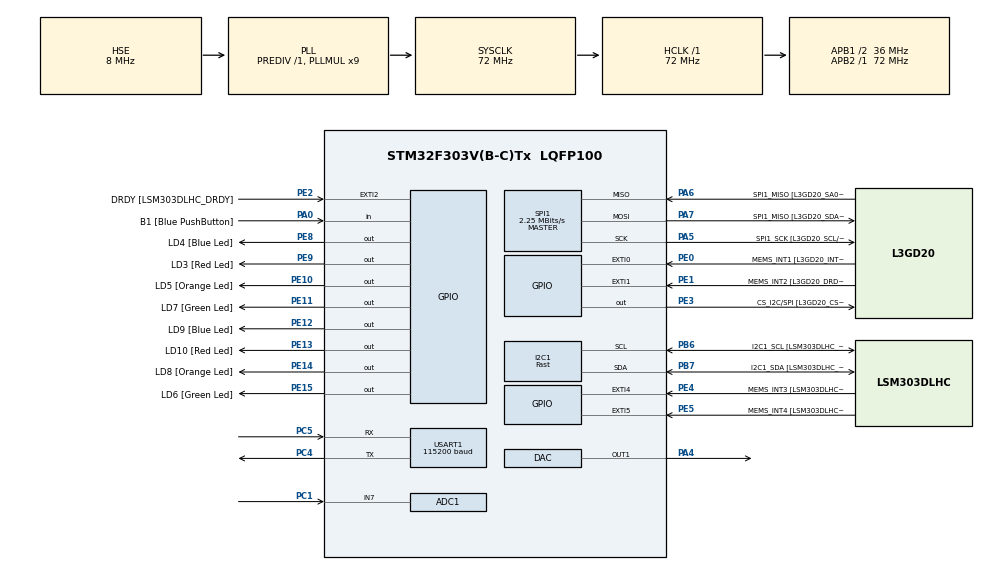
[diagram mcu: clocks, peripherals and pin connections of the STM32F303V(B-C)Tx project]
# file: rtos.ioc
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ADC1.Channel-4\#ChannelRegularConversion=ADC_CHANNEL_7
ADC1.ClockPrescaler=ADC_CLOCK_SYNC_PCLK_DIV1
ADC1.ContinuousConvMode=DISABLE
ADC1.DMAContinuousRequests=ENABLE
ADC1.DataAlign=ADC_DATAALIGN_RIGHT
ADC1.DiscontinuousConvMode=DISABLE
ADC1.EOCSelection=ADC_EOC_SINGLE_CONV
ADC1.EnableAnalogWatchDog1=false
ADC1.EnableAnalogWatchDog2=false
ADC1.EnableAnalogWatchDog3=false
ADC1.EnableInjectedConversion=ENABLE
ADC1.EnableRegularConversion=ENABLE
ADC1.ExternalTrigConv=ADC_EXTERNALTRIGCONV_T6_TRGO
ADC1.ExternalTrigConvEdge=ADC_EXTERNALTRIGCONVEDGE_RISING
ADC1.InjNumberOfConversion=0
ADC1.LowPowerAutoWait=DISABLE
ADC1.NbrOfConversion=1
ADC1.NbrOfConversionFlag=1
ADC1.Offset-4\#ChannelRegularConversion=0
ADC1.OffsetNumber-4\#ChannelRegularConversion=ADC_OFFSET_NONE
ADC1.Overrun=ADC_OVR_DATA_OVERWRITTEN
ADC1.Rank-4\#ChannelRegularConversion=1
ADC1.Resolution=ADC_RESOLUTION_8B
ADC1.SamplingTime-4\#ChannelRegularConversion=ADC_SAMPLETIME_7CYCLES_5
ADC1.ScanConvMode=ADC_SCAN_DISABLE
ADC1.master=1
DAC.DAC_Trigger=DAC_TRIGGER_T6_TRGO
DAC.WaveGeneration=DISABLE
Dma.ADC1.1.Direction=DMA_PERIPH_TO_MEMORY
Dma.ADC1.1.Instance=DMA1_Channel1
Dma.ADC1.1.MemDataAlignment=DMA_MDATAALIGN_HALFWORD
Dma.ADC1.1.MemInc=DMA_MINC_ENABLE
Dma.ADC1.1.Mode=DMA_CIRCULAR
Dma.ADC1.1.PeriphDataAlignment=DMA_PDATAALIGN_HALFWORD
Dma.ADC1.1.PeriphInc=DMA_PINC_DISABLE
Dma.ADC1.1.Priority=DMA_PRIORITY_LOW
Dma.DAC_CH1.0.Direction=DMA_MEMORY_TO_PERIPH
Dma.DAC_CH1.0.Instance=DMA2_Channel3
Dma.DAC_CH1.0.MemDataAlignment=DMA_MDATAALIGN_HALFWORD
Dma.DAC_CH1.0.MemInc=DMA_MINC_ENABLE
Dma.DAC_CH1.0.Mode=DMA_CIRCULAR
Dma.DAC_CH1.0.PeriphDataAlignment=DMA_PDATAALIGN_HALFWORD
Dma.DAC_CH1.0.PeriphInc=DMA_PINC_DISABLE
Dma.DAC_CH1.0.Priority=DMA_PRIORITY_LOW
Dma.Request0=DAC_CH1
Dma.Request1=ADC1
FREERTOS.Tasks01=defaultTask,0,128,StartDefaultTask,Default,NULL
FREERTOS.configUSE_TIMERS=1
I2C1.I2C_Speed_Mode=I2C_Fast
I2C1.Timing=0x0000020B
Mcu.Family=STM32F3
Mcu.Name=STM32F303V(B-C)Tx
Mcu.Package=LQFP100
NVIC.DMA1_Channel1_IRQn=true\:5\:0\:false\:false\:true\:true
NVIC.DMA2_Channel3_IRQn=true\:5\:0\:false\:false\:true\:true
NVIC.I2C1_ER_IRQn=true\:5\:0\:true\:false\:true\:true
NVIC.I2C1_EV_IRQn=true\:5\:0\:false\:false\:true\:true
NVIC.PriorityGroup=NVIC_PRIORITYGROUP_4
NVIC.TIM7_IRQn=true\:0\:0\:false\:false\:true\:false
NVIC.TimeBase=TIM7_IRQn
NVIC.TimeBaseIP=TIM7
NVIC.USART1_IRQn=true\:5\:0\:false\:false\:true\:true
PA0.GPIO_Label=B1 [Blue PushButton]
PA0.GPIO_Mode=GPIO_MODE_INPUT
PA0.GPIO_PuPd=GPIO_NOPULL
PA0.Signal=GPIO_Input
PA13.GPIO_Label=SWDIO
PA13.Mode=Trace_Asynchronous_SW
PA13.Signal=SYS_JTMS-SWDIO
PA14.GPIO_Label=SWCLK
PA14.Mode=Trace_Asynchronous_SW
PA14.Signal=SYS_JTCK-SWCLK
PA4.Signal=COMP_DAC1_group
PA5.GPIO_Label=SPI1_SCK [L3GD20_SCL/SPC]
PA5.GPIO_Mode=GPIO_MODE_AF_PP
PA5.GPIO_PuPd=GPIO_NOPULL
PA5.GPIO_Speed=GPIO_SPEED_FREQ_LOW
PA5.Mode=Full_Duplex_Master
PA5.Signal=SPI1_SCK
PA6.GPIO_Label=SPI1_MISO [L3GD20_SA0/SDO]
PA6.GPIO_Mode=GPIO_MODE_AF_PP
PA6.GPIO_PuPd=GPIO_NOPULL
PA6.GPIO_Speed=GPIO_SPEED_FREQ_LOW
PA6.Mode=Full_Duplex_Master
PA6.Signal=SPI1_MISO
PA7.GPIO_Label=SPI1_MISO [L3GD20_SDA/SDI/SDO]
PA7.GPIO_Mode=GPIO_MODE_AF_PP
PA7.GPIO_PuPd=GPIO_NOPULL
PA7.GPIO_Speed=GPIO_SPEED_FREQ_LOW
PA7.Mode=Full_Duplex_Master
PA7.Signal=SPI1_MOSI
PB3.GPIO_Label=SWO
PB3.Mode=Trace_Asynchronous_SW
PB3.Signal=SYS_JTDO-TRACESWO
PB6.GPIO_FM6=__NULL
PB6.GPIO_Label=I2C1_SCL [LSM303DLHC_SCL]
PB6.GPIO_Mode=GPIO_MODE_AF_OD
PB6.GPIO_PuPd=GPIO_NOPULL
PB6.GPIO_Speed=GPIO_SPEED_FREQ_LOW
PB6.Mode=I2C
PB6.Signal=I2C1_SCL
PB7.GPIO_FM7=__NULL
PB7.GPIO_Label=I2C1_SDA [LSM303DLHC_SDA]
PB7.GPIO_Mode=GPIO_MODE_AF_OD
PB7.GPIO_PuPd=GPIO_NOPULL
PB7.GPIO_Speed=GPIO_SPEED_FREQ_LOW
PB7.Mode=I2C
PB7.Signal=I2C1_SDA
PC1.Signal=ADCx_IN7
PC4.Mode=Asynchronous
PC4.Signal=USART1_TX
PC5.Mode=Asynchronous
PC5.Signal=USART1_RX
PE0.GPIO_Label=MEMS_INT1 [L3GD20_INT1]
PE0.GPIO_ModeDefaultEXTI=GPIO_MODE_EVT_RISING
PE0.GPIO_PuPd=GPIO_NOPULL
PE0.Signal=GPXTI0
PE1.GPIO_Label=MEMS_INT2 [L3GD20_DRDY/INT2]
PE1.GPIO_ModeDefaultEXTI=GPIO_MODE_EVT_RISING
PE1.GPIO_PuPd=GPIO_NOPULL
PE1.Signal=GPXTI1
PE10.GPIO_Label=LD5 [Orange Led]
PE10.GPIO_ModeDefaultOutputPP=GPIO_MODE_OUTPUT_PP
PE10.GPIO_PuPd=GPIO_NOPULL
PE10.GPIO_Speed=GPIO_SPEED_FREQ_LOW
PE10.Signal=GPIO_Output
PE11.GPIO_Label=LD7 [Green Led]
PE11.GPIO_ModeDefaultOutputPP=GPIO_MODE_OUTPUT_PP
PE11.GPIO_PuPd=GPIO_NOPULL
PE11.GPIO_Speed=GPIO_SPEED_FREQ_LOW
PE11.Signal=GPIO_Output
PE12.GPIO_Label=LD9 [Blue Led]
PE12.GPIO_ModeDefaultOutputPP=GPIO_MODE_OUTPUT_PP
PE12.GPIO_PuPd=GPIO_NOPULL
PE12.GPIO_Speed=GPIO_SPEED_FREQ_LOW
PE12.Signal=GPIO_Output
PE13.GPIO_Label=LD10 [Red Led]
PE13.GPIO_ModeDefaultOutputPP=GPIO_MODE_OUTPUT_PP
PE13.GPIO_PuPd=GPIO_NOPULL
PE13.GPIO_Speed=GPIO_SPEED_FREQ_LOW
PE13.Signal=GPIO_Output
PE14.GPIO_Label=LD8 [Orange Led]
PE14.GPIO_ModeDefaultOutputPP=GPIO_MODE_OUTPUT_PP
PE14.GPIO_PuPd=GPIO_NOPULL
PE14.GPIO_Speed=GPIO_SPEED_FREQ_LOW
PE14.Signal=GPIO_Output
PE15.GPIO_Label=LD6 [Green Led]
PE15.GPIO_ModeDefaultOutputPP=GPIO_MODE_OUTPUT_PP
PE15.GPIO_PuPd=GPIO_NOPULL
PE15.GPIO_Speed=GPIO_SPEED_FREQ_LOW
PE15.Signal=GPIO_Output
PE2.GPIO_Label=DRDY [LSM303DLHC_DRDY]
PE2.GPIO_ModeDefaultEXTI=GPIO_MODE_EVT_RISING
PE2.GPIO_PuPd=GPIO_NOPULL
PE2.Signal=GPXTI2
PE3.GPIO_Label=CS_I2C/SPI [L3GD20_CS_I2C/SPI]
PE3.GPIO_ModeDefaultOutputPP=GPIO_MODE_OUTPUT_PP
PE3.GPIO_PuPd=GPIO_NOPULL
PE3.GPIO_Speed=GPIO_SPEED_FREQ_LOW
PE3.Signal=GPIO_Output
PE4.GPIO_Label=MEMS_INT3 [LSM303DLHC_INT1]
PE4.GPIO_ModeDefaultEXTI=GPIO_MODE_EVT_RISING
PE4.GPIO_PuPd=GPIO_NOPULL
PE4.Signal=GPXTI4
PE5.GPIO_Label=MEMS_INT4 [LSM303DLHC_INT2]
PE5.GPIO_ModeDefaultEXTI=GPIO_MODE_EVT_RISING
PE5.GPIO_PuPd=GPIO_NOPULL
PE5.Signal=GPXTI5
PE8.GPIO_Label=LD4 [Blue Led]
PE8.GPIO_ModeDefaultOutputPP=GPIO_MODE_OUTPUT_PP
PE8.GPIO_PuPd=GPIO_NOPULL
PE8.GPIO_Speed=GPIO_SPEED_FREQ_LOW
PE8.Signal=GPIO_Output
PE9.GPIO_Label=LD3 [Red Led]
PE9.GPIO_ModeDefaultOutputPP=GPIO_MODE_OUTPUT_PP
PE9.GPIO_PuPd=GPIO_NOPULL
PE9.GPIO_Speed=GPIO_SPEED_FREQ_LOW
PE9.Signal=GPIO_Output
PF0-OSC_IN.GPIO_Label=OSC_IN
PF0-OSC_IN.Mode=HSE-External-Clock-Source
PF0-OSC_IN.Signal=RCC_OSC_IN
ProjectManager.HeapSize=0x200
ProjectManager.StackSize=0x400
ProjectManager.TargetToolchain=SW4STM32
RCC.AHBFreq_Value=72000000
RCC.APB1CLKDivider=RCC_HCLK_DIV2
RCC.APB1Freq_Value=36000000
RCC.APB1TimFreq_Value=72000000
RCC.APB2Freq_Value=72000000
RCC.APB2TimFreq_Value=72000000
RCC.CortexFreq_Value=72000000
RCC.HCLKFreq_Value=72000000
RCC.HSE_VALUE=8000000
RCC.HSI_VALUE=8000000
RCC.LSE_VALUE=32768
RCC.PLLMUL=RCC_PLL_MUL9
RCC.PLLSourceVirtual=RCC_PLLSOURCE_HSE
RCC.SYSCLKFreq_VALUE=72000000
RCC.SYSCLKSourceVirtual=RCC_SYSCLKSOURCE_PLLCLK
RCC.USBFreq_Value=72000000
SH.ADCx_IN7.0=ADC1_IN7,IN7-Single-Ended
SH.COMP_DAC1_group.0=DAC_OUT1,DAC_OUT1
SPI1.BaudRatePrescaler=SPI_BAUDRATEPRESCALER_32
SPI1.CalculateBaudRate=2.25 MBits/s
SPI1.Direction=SPI_DIRECTION_2LINES
SPI1.Mode=SPI_MODE_MASTER
SPI1.VirtualType=VM_MASTER
TIM6.AutoReloadPreload=TIM_AUTORELOAD_PRELOAD_ENABLE
TIM6.Period=10000
TIM6.Prescaler=71
TIM6.TIM_MasterOutputTrigger=TIM_TRGO_UPDATE
USART1.BaudRate=115200
USART1.Mode=MODE_TX_RX
USART1.VirtualMode-Asynchronous=VM_ASYNC
VP_FREERTOS_VS_ENABLE.Mode=Enabled
VP_SYS_VS_tim7.Mode=TIM7
VP_TIM6_VS_ClockSourceINT.Mode=Enable_Timer
board=STM32F3DISCOVERY

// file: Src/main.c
/**
  ******************************************************************************
  * File Name          : main.c
  * Description        : Main program body
  ******************************************************************************
  *
  * Copyright (c) 2017 STMicroelectronics International N.V.
  * All rights reserved.
  *
  * Redistribution and use in source and binary forms, with or without
  * modification, are permitted, provided that the following conditions are met:
  *
  * 1. Redistribution of source code must retain the above copyright notice,
  *    this list of conditions and the following disclaimer.
  * 2. Redistributions in binary form must reproduce the above copyright notice,
  *    this list of conditions and the following disclaimer in the documentation
  *    and/or other materials provided with the distribution.
  * 3. Neither the name of STMicroelectronics nor the names of other
  *    contributors to this software may be used to endorse or promote products
  *    derived from this software without specific written permission.
  * 4. This software, including modifications and/or derivative works of this
  *    software, must execute solely and exclusively on microcontroller or
  *    microprocessor devices manufactured by or for STMicroelectronics.
  * 5. Redistribution and use of this software other than as permitted under
  *    this license is void and will automatically terminate your rights under
  *    this license.
  *
  * THIS SOFTWARE IS PROVIDED BY STMICROELECTRONICS AND CONTRIBUTORS "AS IS"
  * AND ANY EXPRESS, IMPLIED OR STATUTORY WARRANTIES, INCLUDING, BUT NOT
  * LIMITED TO, THE IMPLIED WARRANTIES OF MERCHANTABILITY, FITNESS FOR A
  * PARTICULAR PURPOSE AND NON-INFRINGEMENT OF THIRD PARTY INTELLECTUAL PROPERTY
  * RIGHTS ARE DISCLAIMED TO THE FULLEST EXTENT PERMITTED BY LAW. IN NO EVENT
  * SHALL STMICROELECTRONICS OR CONTRIBUTORS BE LIABLE FOR ANY DIRECT, INDIRECT,
  * INCIDENTAL, SPECIAL, EXEMPLARY, OR CONSEQUENTIAL DAMAGES (INCLUDING, BUT NOT
  * LIMITED TO, PROCUREMENT OF SUBSTITUTE GOODS OR SERVICES; LOSS OF USE, DATA,
  * OR PROFITS; OR BUSINESS INTERRUPTION) HOWEVER CAUSED AND ON ANY THEORY OF
  * LIABILITY, WHETHER IN CONTRACT, STRICT LIABILITY, OR TORT (INCLUDING
  * NEGLIGENCE OR OTHERWISE) ARISING IN ANY WAY OUT OF THE USE OF THIS SOFTWARE,
  * EVEN IF ADVISED OF THE POSSIBILITY OF SUCH DAMAGE.
  *
  ******************************************************************************
  */
#include "main.h"
#include "stm32f3xx_hal.h"
#include "cmsis_os.h"

/* USER CODE BEGIN Includes */
#include "data.h"
#include "mems.h"
#include "arm_math.h"
/* USER CODE END Includes */

ADC_HandleTypeDef hadc1;
DMA_HandleTypeDef hdma_adc1;

DAC_HandleTypeDef hdac;
DMA_HandleTypeDef hdma_dac_ch1;

I2C_HandleTypeDef hi2c1;

SPI_HandleTypeDef hspi1;

TIM_HandleTypeDef htim6;

UART_HandleTypeDef huart1;

osThreadId defaultTaskHandle;

/* USER CODE BEGIN PV */
/* Private variables ---------------------------------------------------------*/
uint16_t u16_rawHP = 0;  // raw data of heart pulse
int16_t i16_rawAcc[3] = {0,0,0};

struct {
	uint8_t rawHP;
	uint8_t rawAccX;
	uint8_t rawAccY;
	uint8_t rawAccZ;
	uint8_t calcHR;
	uint8_t calcSR;
	uint8_t cpu;
	uint8_t _end;
} u8_data = {128, 0, 0, 0, 0, 0, 0, '\n'};
/* USER CODE END PV */

void SystemClock_Config(void);
void Error_Handler(void);
static void MX_GPIO_Init(void);
static void MX_DMA_Init(void);
static void MX_I2C1_Init(void);
static void MX_SPI1_Init(void);
static void MX_TIM6_Init(void);
static void MX_DAC_Init(void);
static void MX_USART1_UART_Init(void);
static void MX_ADC1_Init(void);
void StartDefaultTask(void const * argument);

/* USER CODE BEGIN PFP */
/* Private function prototypes -----------------------------------------------*/

/* USER CODE END PFP */

int main(void)
{

  /* MCU Configuration----------------------------------------------------------*/

  /* Reset of all peripherals, Initializes the Flash interface and the Systick. */
  HAL_Init();

  /* Configure the system clock */
  SystemClock_Config();

  /* Initialize all configured peripherals */
  MX_GPIO_Init();
  MX_DMA_Init();
  MX_I2C1_Init();
  MX_SPI1_Init();
  MX_TIM6_Init();
  MX_DAC_Init();
  MX_USART1_UART_Init();
  MX_ADC1_Init();

  /* USER CODE BEGIN 2 */
  MEMS_ACCELERO_Init();  // initialize accelerator

  HAL_TIM_Base_Start_IT(&htim6);  // start TIM7
  HAL_DAC_Start_DMA(&hdac, DAC_CHANNEL_1, (uint32_t*) hr_data, 965, DAC_ALIGN_8B_R);  // start DAC in DMA mode
  HAL_ADC_Start_DMA(&hadc1, (uint32_t *)&u16_rawHP, 1);  // start ADC in DMA mode

  u8_data._end = '\n';
  u8_data.calcHR = 0;
  u8_data.calcSR = 0;
  u8_data.rawHP = 128;
  u8_data.rawAccX = 0;
  u8_data.rawAccY = 0;
  u8_data.rawAccZ = 0;
  /* USER CODE END 2 */

  /* Create the thread(s) */
  /* definition and creation of defaultTask */
  osThreadDef(defaultTask, StartDefaultTask, osPriorityNormal, 0, 128);
  defaultTaskHandle = osThreadCreate(osThread(defaultTask), NULL);

  /* Start scheduler */
  osKernelStart();

  /* We should never get here as control is now taken by the scheduler */

  /* Infinite loop */
  while (1)
  {

  }

}

/** System Clock Configuration
*/
void SystemClock_Config(void)
{

  RCC_OscInitTypeDef RCC_OscInitStruct;
  RCC_ClkInitTypeDef RCC_ClkInitStruct;
  RCC_PeriphCLKInitTypeDef PeriphClkInit;

    /**Initializes the CPU, AHB and APB busses clocks
    */
  RCC_OscInitStruct.OscillatorType = RCC_OSCILLATORTYPE_HSI|RCC_OSCILLATORTYPE_HSE;
  RCC_OscInitStruct.HSEState = RCC_HSE_BYPASS;
  RCC_OscInitStruct.HSEPredivValue = RCC_HSE_PREDIV_DIV1;
  RCC_OscInitStruct.HSIState = RCC_HSI_ON;
  RCC_OscInitStruct.HSICalibrationValue = 16;
  RCC_OscInitStruct.PLL.PLLState = RCC_PLL_ON;
  RCC_OscInitStruct.PLL.PLLSource = RCC_PLLSOURCE_HSE;
  RCC_OscInitStruct.PLL.PLLMUL = RCC_PLL_MUL9;
  if (HAL_RCC_OscConfig(&RCC_OscInitStruct) != HAL_OK)
  {
    Error_Handler();
  }

    /**Initializes the CPU, AHB and APB busses clocks
    */
  RCC_ClkInitStruct.ClockType = RCC_CLOCKTYPE_HCLK|RCC_CLOCKTYPE_SYSCLK
                              |RCC_CLOCKTYPE_PCLK1|RCC_CLOCKTYPE_PCLK2;
  RCC_ClkInitStruct.SYSCLKSource = RCC_SYSCLKSOURCE_PLLCLK;
  RCC_ClkInitStruct.AHBCLKDivider = RCC_SYSCLK_DIV1;
  RCC_ClkInitStruct.APB1CLKDivider = RCC_HCLK_DIV2;
  RCC_ClkInitStruct.APB2CLKDivider = RCC_HCLK_DIV1;

  if (HAL_RCC_ClockConfig(&RCC_ClkInitStruct, FLASH_LATENCY_2) != HAL_OK)
  {
    Error_Handler();
  }

  PeriphClkInit.PeriphClockSelection = RCC_PERIPHCLK_USART1|RCC_PERIPHCLK_I2C1;
  PeriphClkInit.Usart1ClockSelection = RCC_USART1CLKSOURCE_PCLK2;
  PeriphClkInit.I2c1ClockSelection = RCC_I2C1CLKSOURCE_HSI;
  if (HAL_RCCEx_PeriphCLKConfig(&PeriphClkInit) != HAL_OK)
  {
    Error_Handler();
  }

    /**Configure the Systick interrupt time
    */
  HAL_SYSTICK_Config(HAL_RCC_GetHCLKFreq()/1000);

    /**Configure the Systick
    */
  HAL_SYSTICK_CLKSourceConfig(SYSTICK_CLKSOURCE_HCLK);

  /* SysTick_IRQn interrupt configuration */
  HAL_NVIC_SetPriority(SysTick_IRQn, 15, 0);
}

/* ADC1 init function */
static void MX_ADC1_Init(void)
{

  ADC_MultiModeTypeDef multimode;
  ADC_ChannelConfTypeDef sConfig;

    /**Common config
    */
  hadc1.Instance = ADC1;
  hadc1.Init.ClockPrescaler = ADC_CLOCK_SYNC_PCLK_DIV1;
  hadc1.Init.Resolution = ADC_RESOLUTION_8B;
  hadc1.Init.ScanConvMode = ADC_SCAN_DISABLE;
  hadc1.Init.ContinuousConvMode = DISABLE;
  hadc1.Init.DiscontinuousConvMode = DISABLE;
  hadc1.Init.ExternalTrigConvEdge = ADC_EXTERNALTRIGCONVEDGE_RISING;
  hadc1.Init.ExternalTrigConv = ADC_EXTERNALTRIGCONV_T6_TRGO;
  hadc1.Init.DataAlign = ADC_DATAALIGN_RIGHT;
  hadc1.Init.NbrOfConversion = 1;
  hadc1.Init.DMAContinuousRequests = ENABLE;
  hadc1.Init.EOCSelection = ADC_EOC_SINGLE_CONV;
  hadc1.Init.LowPowerAutoWait = DISABLE;
  hadc1.Init.Overrun = ADC_OVR_DATA_OVERWRITTEN;
  if (HAL_ADC_Init(&hadc1) != HAL_OK)
  {
    Error_Handler();
  }

    /**Configure the ADC multi-mode
    */
  multimode.Mode = ADC_MODE_INDEPENDENT;
  if (HAL_ADCEx_MultiModeConfigChannel(&hadc1, &multimode) != HAL_OK)
  {
    Error_Handler();
  }

    /**Configure Regular Channel
    */
  sConfig.Channel = ADC_CHANNEL_7;
  sConfig.Rank = 1;
  sConfig.SingleDiff = ADC_SINGLE_ENDED;
  sConfig.SamplingTime = ADC_SAMPLETIME_7CYCLES_5;
  sConfig.OffsetNumber = ADC_OFFSET_NONE;
  sConfig.Offset = 0;
  if (HAL_ADC_ConfigChannel(&hadc1, &sConfig) != HAL_OK)
  {
    Error_Handler();
  }

}

/* DAC init function */
static void MX_DAC_Init(void)
{

  DAC_ChannelConfTypeDef sConfig;

    /**DAC Initialization
    */
  hdac.Instance = DAC;
  if (HAL_DAC_Init(&hdac) != HAL_OK)
  {
    Error_Handler();
  }

    /**DAC channel OUT1 config
    */
  sConfig.DAC_Trigger = DAC_TRIGGER_T6_TRGO;
  sConfig.DAC_OutputBuffer = DAC_OUTPUTBUFFER_ENABLE;
  if (HAL_DAC_ConfigChannel(&hdac, &sConfig, DAC_CHANNEL_1) != HAL_OK)
  {
    Error_Handler();
  }

}

/* I2C1 init function */
static void MX_I2C1_Init(void)
{

  hi2c1.Instance = I2C1;
  hi2c1.Init.Timing = 0x0000020B;
  hi2c1.Init.OwnAddress1 = 0;
  hi2c1.Init.AddressingMode = I2C_ADDRESSINGMODE_7BIT;
  hi2c1.Init.DualAddressMode = I2C_DUALADDRESS_DISABLE;
  hi2c1.Init.OwnAddress2 = 0;
  hi2c1.Init.OwnAddress2Masks = I2C_OA2_NOMASK;
  hi2c1.Init.GeneralCallMode = I2C_GENERALCALL_DISABLE;
  hi2c1.Init.NoStretchMode = I2C_NOSTRETCH_DISABLE;
  if (HAL_I2C_Init(&hi2c1) != HAL_OK)
  {
    Error_Handler();
  }

    /**Configure Analogue filter
    */
  if (HAL_I2CEx_ConfigAnalogFilter(&hi2c1, I2C_ANALOGFILTER_ENABLE) != HAL_OK)
  {
    Error_Handler();
  }

    /**Configure Digital filter
    */
  if (HAL_I2CEx_ConfigDigitalFilter(&hi2c1, 0) != HAL_OK)
  {
    Error_Handler();
  }

}

/* SPI1 init function */
static void MX_SPI1_Init(void)
{

  hspi1.Instance = SPI1;
  hspi1.Init.Mode = SPI_MODE_MASTER;
  hspi1.Init.Direction = SPI_DIRECTION_2LINES;
  hspi1.Init.DataSize = SPI_DATASIZE_4BIT;
  hspi1.Init.CLKPolarity = SPI_POLARITY_LOW;
  hspi1.Init.CLKPhase = SPI_PHASE_1EDGE;
  hspi1.Init.NSS = SPI_NSS_SOFT;
  hspi1.Init.BaudRatePrescaler = SPI_BAUDRATEPRESCALER_32;
  hspi1.Init.FirstBit = SPI_FIRSTBIT_MSB;
  hspi1.Init.TIMode = SPI_TIMODE_DISABLE;
  hspi1.Init.CRCCalculation = SPI_CRCCALCULATION_DISABLE;
  hspi1.Init.CRCPolynomial = 7;
  hspi1.Init.CRCLength = SPI_CRC_LENGTH_DATASIZE;
  hspi1.Init.NSSPMode = SPI_NSS_PULSE_ENABLE;
  if (HAL_SPI_Init(&hspi1) != HAL_OK)
  {
    Error_Handler();
  }

}

/* TIM6 init function */
static void MX_TIM6_Init(void)
{

  TIM_MasterConfigTypeDef sMasterConfig;

  htim6.Instance = TIM6;
  htim6.Init.Prescaler = 71;
  htim6.Init.CounterMode = TIM_COUNTERMODE_UP;
  htim6.Init.Period = 10000;
  htim6.Init.AutoReloadPreload = TIM_AUTORELOAD_PRELOAD_ENABLE;
  if (HAL_TIM_Base_Init(&htim6) != HAL_OK)
  {
    Error_Handler();
  }

  sMasterConfig.MasterOutputTrigger = TIM_TRGO_UPDATE;
  sMasterConfig.MasterSlaveMode = TIM_MASTERSLAVEMODE_DISABLE;
  if (HAL_TIMEx_MasterConfigSynchronization(&htim6, &sMasterConfig) != HAL_OK)
  {
    Error_Handler();
  }

}

/* USART1 init function */
static void MX_USART1_UART_Init(void)
{

  huart1.Instance = USART1;
  huart1.Init.BaudRate = 115200;
  huart1.Init.WordLength = UART_WORDLENGTH_8B;
  huart1.Init.StopBits = UART_STOPBITS_1;
  huart1.Init.Parity = UART_PARITY_NONE;
  huart1.Init.Mode = UART_MODE_TX_RX;
  huart1.Init.HwFlowCtl = UART_HWCONTROL_NONE;
  huart1.Init.OverSampling = UART_OVERSAMPLING_16;
  huart1.Init.OneBitSampling = UART_ONE_BIT_SAMPLE_DISABLE;
  huart1.AdvancedInit.AdvFeatureInit = UART_ADVFEATURE_NO_INIT;
  if (HAL_UART_Init(&huart1) != HAL_OK)
  {
    Error_Handler();
  }

}

static void MX_DMA_Init(void)
{
  /* DMA controller clock enable */
  __HAL_RCC_DMA2_CLK_ENABLE();
  __HAL_RCC_DMA1_CLK_ENABLE();

  /* DMA interrupt init */
  /* DMA1_Channel1_IRQn interrupt configuration */
  HAL_NVIC_SetPriority(DMA1_Channel1_IRQn, 5, 0);
  HAL_NVIC_EnableIRQ(DMA1_Channel1_IRQn);
  /* DMA2_Channel3_IRQn interrupt configuration */
  HAL_NVIC_SetPriority(DMA2_Channel3_IRQn, 5, 0);
  HAL_NVIC_EnableIRQ(DMA2_Channel3_IRQn);

}

/** Configure pins as
        * Analog
        * Input
        * Output
        * EVENT_OUT
        * EXTI
*/
static void MX_GPIO_Init(void)
{

  GPIO_InitTypeDef GPIO_InitStruct;

  /* GPIO Ports Clock Enable */
  __HAL_RCC_GPIOE_CLK_ENABLE();
  __HAL_RCC_GPIOF_CLK_ENABLE();
  __HAL_RCC_GPIOC_CLK_ENABLE();
  __HAL_RCC_GPIOA_CLK_ENABLE();
  __HAL_RCC_GPIOB_CLK_ENABLE();

  /*Configure GPIO pin Output Level */
  HAL_GPIO_WritePin(GPIOE, CS_I2C_SPI_Pin|LD4_Pin|LD3_Pin|LD5_Pin
                          |LD7_Pin|LD9_Pin|LD10_Pin|LD8_Pin
                          |LD6_Pin, GPIO_PIN_RESET);

  /*Configure GPIO pins : DRDY_Pin MEMS_INT3_Pin MEMS_INT4_Pin MEMS_INT1_Pin
                           MEMS_INT2_Pin */
  GPIO_InitStruct.Pin = DRDY_Pin|MEMS_INT3_Pin|MEMS_INT4_Pin|MEMS_INT1_Pin
                          |MEMS_INT2_Pin;
  GPIO_InitStruct.Mode = GPIO_MODE_EVT_RISING;
  GPIO_InitStruct.Pull = GPIO_NOPULL;
  HAL_GPIO_Init(GPIOE, &GPIO_InitStruct);

  /*Configure GPIO pins : CS_I2C_SPI_Pin LD4_Pin LD3_Pin LD5_Pin
                           LD7_Pin LD9_Pin LD10_Pin LD8_Pin
                           LD6_Pin */
  GPIO_InitStruct.Pin = CS_I2C_SPI_Pin|LD4_Pin|LD3_Pin|LD5_Pin
                          |LD7_Pin|LD9_Pin|LD10_Pin|LD8_Pin
                          |LD6_Pin;
  GPIO_InitStruct.Mode = GPIO_MODE_OUTPUT_PP;
  GPIO_InitStruct.Pull = GPIO_NOPULL;
  GPIO_InitStruct.Speed = GPIO_SPEED_FREQ_LOW;
  HAL_GPIO_Init(GPIOE, &GPIO_InitStruct);

  /*Configure GPIO pin : B1_Pin */
  GPIO_InitStruct.Pin = B1_Pin;
  GPIO_InitStruct.Mode = GPIO_MODE_INPUT;
  GPIO_InitStruct.Pull = GPIO_NOPULL;
  HAL_GPIO_Init(B1_GPIO_Port, &GPIO_InitStruct);

}

/* USER CODE BEGIN 4 */
void HAL_I2C_MemRxCpltCallback(I2C_HandleTypeDef *hi2c)
{
	UNUSED(hi2c);

	u8_data.rawHP = ((uint8_t) u16_rawHP);
	u8_data.rawAccX = (uint8_t) (i16_rawAcc[0]>>8);
	u8_data.rawAccY = (uint8_t) (i16_rawAcc[1]>>8);
	u8_data.rawAccZ = (uint8_t) (i16_rawAcc[2]>>8);
	u8_data.cpu = (uint8_t) osGetCPUUsage() + 11;

	HAL_UART_Transmit_DMA(&huart1, &u8_data.rawHP, 8);
}
/* USER CODE END 4 */

/* StartDefaultTask function */
void StartDefaultTask(void const * argument)
{

  /* USER CODE BEGIN 5 */
  /* Infinite loop */
  for(;;)
  {
	HAL_I2C_Mem_Read_DMA(&hi2c1, 0x32, 0x28|0x80, I2C_MEMADD_SIZE_8BIT, (uint8_t *)i16_rawAcc, 6);
//	  BSP_ACCELERO_GetXYZ(acc);
    osDelay(10);
  }
  /* USER CODE END 5 */
}

void HAL_TIM_PeriodElapsedCallback(TIM_HandleTypeDef *htim)
{
  if (htim->Instance == TIM7) {
    HAL_IncTick();
  }
}

void Error_Handler(void)
{
  while(1)
  {
  }
}

/************************ (C) COPYRIGHT STMicroelectronics *****END OF FILE****/
